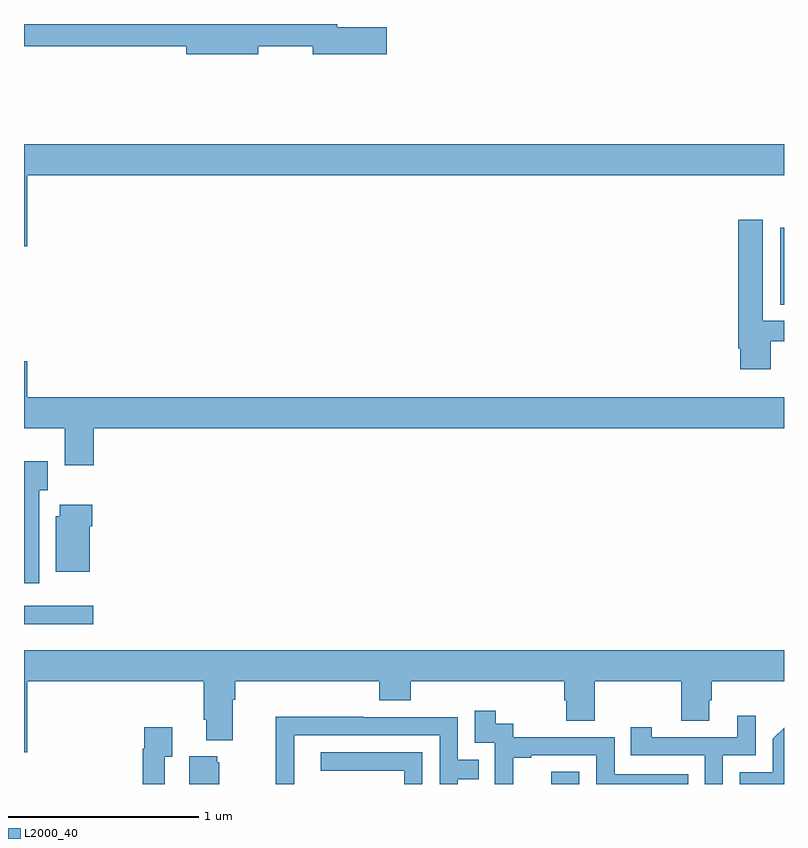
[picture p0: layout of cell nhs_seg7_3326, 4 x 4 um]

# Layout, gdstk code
import gdstk
lib = gdstk.Library(unit=1e-6, precision=1e-09)
def R(c, l, rs):  # rectangles x0, y0, x1, y1
    for r in rs: c.add(gdstk.rectangle(r[:2], r[2:], *l))
def P(c, l, *ps):  # polygons
    for p in ps: c.add(gdstk.Polygon(p, *l))
L2000_40 = (2000, 40)

nhs_seg7_3326 = lib.new_cell('nhs_seg7_3326')
R(nhs_seg7_3326, L2000_40, [(323.775,1076,323.922,1076.065), (321,1076.84,321.364,1076.937), (324.98,1078.522,325,1078.927)])
P(nhs_seg7_3326, L2000_40, [(322.234,1079.884),(322.52,1079.884),(322.52,1079.842),(322.909,1079.842),(322.909,1079.984),(322.648,1079.984),(322.648,1080),(321,1080),(321,1079.884),(321.854,1079.884),(321.854,1079.842),(322.234,1079.842)],
  [(321.016,1079.204),(325,1079.204),(325,1079.368),(321,1079.368),(321,1078.83),(321.016,1078.83)],
  [(324.931,1078.329),(325,1078.329),(325,1078.437),(324.889,1078.437),(324.889,1078.969),(324.758,1078.969),(324.758,1078.294),(324.77,1078.294),(324.77,1078.182),(324.931,1078.182)],
  [(321.368,1077.872),(325,1077.872),(325,1078.036),(321.016,1078.036),(321.016,1078.225),(321,1078.225),(321,1077.872),(321.215,1077.872),(321.215,1077.678),(321.368,1077.678)],
  [(321.079,1077.546),(321.124,1077.546),(321.124,1077.7),(321,1077.7),(321,1077.057),(321.079,1077.057)],
  [(321.346,1077.356),(321.359,1077.356),(321.359,1077.469),(321.188,1077.469),(321.188,1077.408),(321.167,1077.408),(321.167,1077.116),(321.346,1077.116)],
  [(321.016,1076.54),(321.947,1076.54),(321.947,1076.338),(321.959,1076.338),(321.959,1076.231),(322.099,1076.231),(322.099,1076.444),(322.112,1076.444),(322.112,1076.54),(322.871,1076.54),(322.871,1076.441),(323.036,1076.441),(323.036,1076.54),(323.843,1076.54),(323.843,1076.442),(323.855,1076.442),(323.855,1076.332),(324.003,1076.332),(324.003,1076.54),(324.46,1076.54),(324.46,1076.332),(324.607,1076.332),(324.607,1076.442),(324.62,1076.442),(324.62,1076.54),(325,1076.54),(325,1076.704),(321,1076.704),(321,1076.166),(321.016,1076.166)],
  [(323.576,1076.139),(323.671,1076.139),(323.671,1076.151),(324.012,1076.151),(324.012,1076),(324.497,1076),(324.497,1076.052),(324.108,1076.052),(324.108,1076.247),(323.574,1076.247),(323.574,1076.316),(323.482,1076.316),(323.482,1076.386),(323.373,1076.386),(323.373,1076.217),(323.478,1076.217),(323.478,1076),(323.576,1076)],
  [(324.678,1076.151),(324.852,1076.151),(324.852,1076.359),(324.755,1076.359),(324.755,1076.247),(324.304,1076.247),(324.304,1076.299),(324.193,1076.299),(324.193,1076.151),(324.582,1076.151),(324.582,1076),(324.678,1076)],
  [(322.422,1076.256),(323.187,1076.256),(323.187,1076),(323.283,1076),(323.283,1076.026),(323.393,1076.026),(323.393,1076.127),(323.283,1076.127),(323.283,1076.352),(322.787,1076.352),(322.787,1076.354),(322.324,1076.354),(322.324,1076.047),(322.326,1076.047),(322.326,1076),(322.422,1076)],
  [(321.741,1076.143),(321.781,1076.143),(321.781,1076.299),(321.633,1076.299),(321.633,1076.186),(321.625,1076.186),(321.625,1076),(321.741,1076)],
  [(325,1076.296),(324.942,1076.238),(324.942,1076.061),(324.768,1076.061),(324.768,1076),(325,1076)],
  [(323.097,1076.166),(322.563,1076.166),(322.563,1076.07),(323.001,1076.07),(323.001,1076),(323.097,1076)],
  [(322.027,1076.115),(322.016,1076.115),(322.016,1076.146),(321.869,1076.146),(321.869,1076),(322.027,1076)])

lib.write_gds('nhs_seg7_3326.gds')
